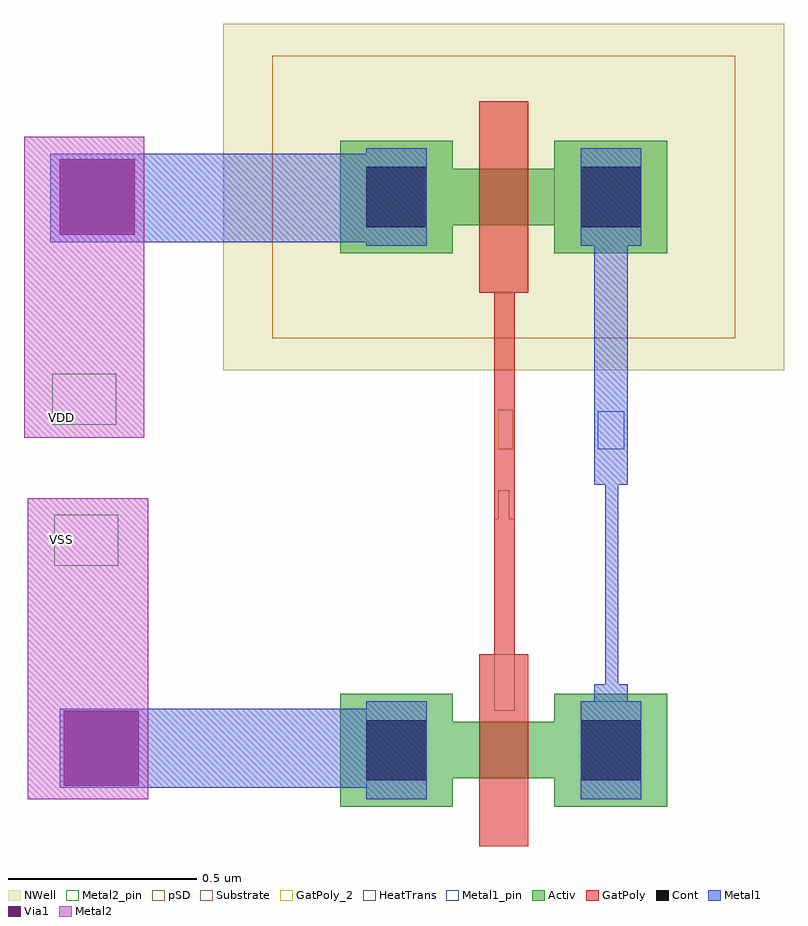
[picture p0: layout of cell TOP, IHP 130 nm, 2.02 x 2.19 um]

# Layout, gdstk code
import gdstk
lib = gdstk.Library(unit=1e-6, precision=1e-09)
def R(c, l, rs):  # rectangles x0, y0, x1, y1
    for r in rs: c.add(gdstk.rectangle(r[:2], r[2:], *l))
def P(c, l, *ps):  # polygons
    for p in ps: c.add(gdstk.Polygon(p, *l))
Activ = (1, 0)
GatPoly = (5, 0)
GatPoly_2 = (5, 2)
Cont = (6, 0)
Metal1 = (8, 0)
Metal1_pin = (8, 2)
Metal2 = (10, 0)
Metal2_pin = (10, 2)
pSD = (14, 0)
Via1 = (19, 0)
NWell = (31, 0)
Substrate = (40, 0)
HeatTrans = (51, 0)

pmos = lib.new_cell('pmos')
R(pmos, Activ, [(0,0,0.3,0.3), (0.57,0,0.87,0.3), (0,0.075,0.87,0.225)])
R(pmos, GatPoly, [(0.37,-0.105,0.5,0.405), (0.37,-0.105,0.5,0.405)])
R(pmos, Cont, [(0.07,0.07,0.23,0.23), (0.64,0.07,0.8,0.23)])
R(pmos, Metal1, [(0.07,0.02,0.23,0.28), (0.07,0.02,0.23,0.28), (0.64,0.02,0.8,0.28), (0.64,0.02,0.8,0.28)])
R(pmos, pSD, [(-0.18,-0.225,1.05,0.525)])
R(pmos, NWell, [(-0.31,-0.31,1.18,0.61)])
R(pmos, Substrate, [(0.57,0,0.87,0.3)])
R(pmos, HeatTrans, [(0.37,-0.105,0.5,0.405)])
pmos.add(gdstk.Label('pmos', (0.435,0.15), layer=63, texttype=0))
pmos.add(gdstk.Label('pmos', (0.435,0.15), layer=51, texttype=0))

nmos = lib.new_cell('nmos')
R(nmos, Activ, [(0,0,0.3,0.3), (0.57,0,0.87,0.3), (0,0.075,0.87,0.225)])
R(nmos, GatPoly, [(0.37,-0.105,0.5,0.405)])
R(nmos, GatPoly_2, [(0.37,-0.105,0.5,0.405)])
R(nmos, Cont, [(0.07,0.07,0.23,0.23), (0.64,0.07,0.8,0.23)])
R(nmos, Metal1, [(0.07,0.02,0.23,0.28), (0.64,0.02,0.8,0.28)])
R(nmos, Metal1_pin, [(0.07,0.02,0.23,0.28), (0.64,0.02,0.8,0.28)])
R(nmos, HeatTrans, [(0.37,-0.105,0.5,0.405)])
nmos.add(gdstk.Label('nmos', (0.435,0.15), layer=63, texttype=0))
nmos.add(gdstk.Label('nmos', (0.435,0.15), layer=51, texttype=0))

top = lib.new_cell('TOP')
R(top, GatPoly, [(-0.29,-1.09,-0.235,0.095)])
R(top, GatPoly_2, [(-0.28,-0.42,-0.24,-0.315)])
R(top, Metal1, [(-1.445,-1.32,-0.505,-1.11), (-1.47,0.13,-0.585,0.365)])
P(top, Metal1, [(-0.025,-1.17),(-0.025,-1.045),(0.005,-1.045),(0.005,-0.515),(-0.025,-0.515),(-0.025,0.18),(0.065,0.18),(0.065,-0.515),(0.04,-0.515),(0.04,-1.045),(0.065,-1.045),(0.065,-1.17)])
R(top, Metal1_pin, [(-0.015,-0.42,0.055,-0.32)])
R(top, Metal2, [(-1.53,-1.35,-1.21,-0.55), (-1.54,-0.39,-1.22,0.41)])
R(top, Metal2_pin, [(-1.46,-0.73,-1.29,-0.595), (-1.465,-0.355,-1.295,-0.22)])
R(top, Via1, [(-1.435,-1.315,-1.235,-1.115), (-1.445,0.15,-1.245,0.35)])
P(top, Substrate, [(-0.29,-1.115),(-0.29,-0.605),(-0.28,-0.605),(-0.28,-0.53),(-0.25,-0.53),(-0.25,-0.605),(-0.235,-0.605),(-0.235,-1.115)])
top.add(gdstk.Reference(pmos, (-0.7,0.1)))
top.add(gdstk.Reference(nmos, (-0.7,-1.37)))
top.add(gdstk.Label('VDD', (-1.44,-0.335), layer=10, texttype=2))
top.add(gdstk.Label('VSS', (-1.44,-0.66), layer=10, texttype=2))

lib.write_gds('TOP.gds')
